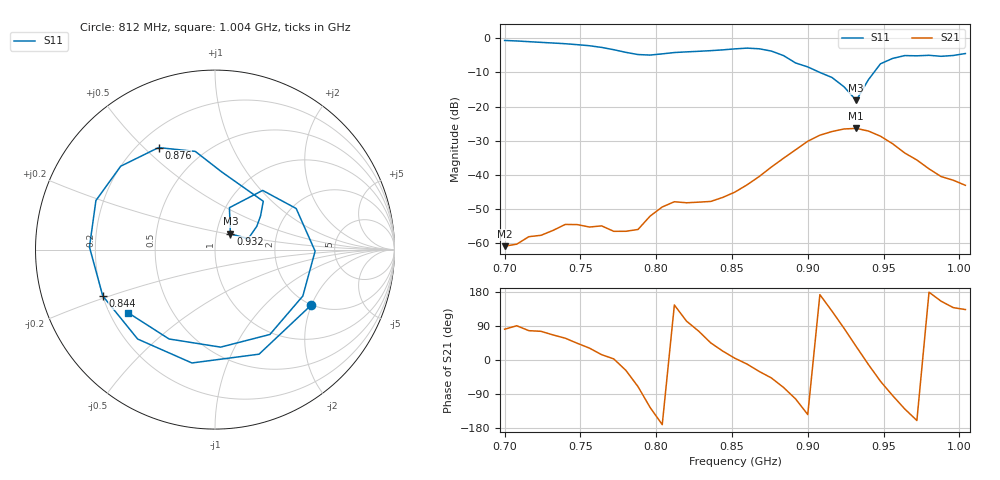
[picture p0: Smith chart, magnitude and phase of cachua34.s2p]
# Hz S RI R 50
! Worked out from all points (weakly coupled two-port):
!   39 points, 700 MHz to 1.004 GHz, reference 50 ohm
!   highest |S21| = -26.40 dB at 932 MHz (marker M1); lowest = -60.9 dB at 700 MHz (marker M2)
!   lowest |S11| = -18.2 dB at 932 MHz (marker M3), VSWR 1.28, Z = 58.4 + j10.4 ohm
!   |S11| at or under -10 dB: 907.9 MHz to 943.7 MHz (35.73 MHz wide, 3.86 % of centre)
!   S12 and S22 are empty: the file has one direction only
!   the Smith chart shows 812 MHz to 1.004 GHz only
!   S11 on the Smith chart (normalised r, x): 812 MHz: 1.98, -1.98; 844 MHz: 0.20, -0.19; 876 MHz: 0.28, +0.55; 932 MHz: 1.17, +0.21; 1.004 GHz: 0.28, -0.30
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7e8  0.7666 0.525  0.000137 0.00089  0 0  0 0
7.24e8  0.8311 -0.2611  0.000321 0.00126  0 0  0 0
7.4e8  0.4422 -0.7051  0.00101 0.00158  0 0  0 0
7.56e8  -0.2007 -0.751  0.00147 0.000892  0 0  0 0
7.72e8  -0.6548 -0.1837  0.00148 7.6e-05  0 0  0 0
7.8e8  -0.5753 0.2362  0.00132 -0.000684  0 0  0 0
7.88e8  -0.2198 0.5342  0.000536 -0.00149  0 0  0 0
7.96e8  0.2683 0.5001  -0.00143 -0.00203  0 0  0 0
8.04e8  0.5748 0.1381  -0.00334 -0.000555  0 0  0 0
8.12e8  0.5347 -0.3102  -0.00331 0.0023  0 0  0 0
8.28e8  -0.1286 -0.6316  0.000944 0.00386  0 0  0 0
8.44e8  -0.6252 -0.2584  0.00429 0.00185  0 0  0 0
8.52e8  -0.6994 0.0141  0.00557 0.00043  0 0  0 0
8.76e8  -0.3146 0.5684  0.00881 -0.00956  0 0  0 0
9e8  0.269 0.2693  -0.0251 -0.0183  0 0  0 0
9.08e8  0.2539 0.1877  -0.0377 0.00495  0 0  0 0
9.32e8  0.0856 0.0881  0.039 0.0277  0 0  0 0
9.48e8  0.2654 0.3297  0.0204 -0.0306  0 0  0 0
9.56e8  0.4524 0.2289  -0.00195 -0.0284  0 0  0 0
9.64e8  0.5578 -0.00876  -0.0132 -0.0162  0 0  0 0
9.8e8  0.3058 -0.4728  -0.0122 0.000229  0 0  0 0
1.004e9  -0.4828 -0.3526  -0.00479 0.00512  0 0  0 0
